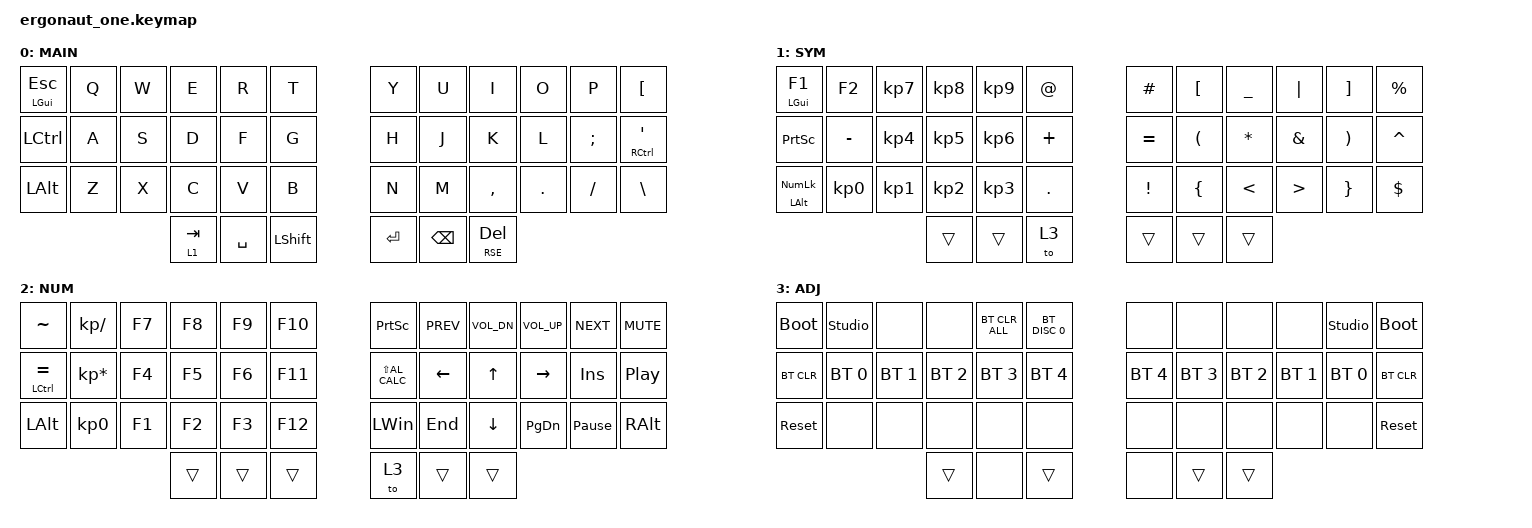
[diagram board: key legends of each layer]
#include <behaviors.dtsi>
#include <dt-bindings/zmk/bt.h>
#include <dt-bindings/zmk/keys.h>

#define DEF 0
#define LWR 1
#define RSE 2
#define ADJ 3

&lt { quick-tap-ms = <200>; };

&mt { quick-tap-ms = <200>; };

/ {
    conditional_layers {
        compatible = "zmk,conditional-layers";

        tri-layer {
            if-layers = <LWR RSE>;
            then-layer = <ADJ>;
        };
    };

    keymap {
        compatible = "zmk,keymap";

        default_layer {
            display-name = "MAIN";
            bindings = <
&mt LGUI ESCAPE   &kp Q  &kp W  &kp E      &kp R      &kp T           &kp Y      &kp U          &kp I        &kp O    &kp P     &kp LBKT
&kp LEFT_CONTROL  &kp A  &kp S  &kp D      &kp F      &kp G           &kp H      &kp J          &kp K        &kp L    &kp SEMI  &mt RCTRL SQT
&kp LALT          &kp Z  &kp X  &kp C      &kp V      &kp B           &kp N      &kp M          &kp COMMA    &kp DOT  &kp FSLH  &kp BSLH
                                &lt 1 TAB  &kp SPACE  &kp LEFT_SHIFT  &kp ENTER  &kp BACKSPACE  &lt RSE DEL
            >;
        };

        lower_layer {
            display-name = "SYM";
            bindings = <
&mt LGUI F1          &kp F2           &kp KP_NUMBER_7  &kp KP_NUMBER_8  &kp KP_NUMBER_9  &kp AT_SIGN  &kp HASH         &kp LEFT_BRACKET      &kp UNDERSCORE  &kp PIPE          &kp RIGHT_BRACKET  &kp PERCENT
&kp PSCRN            &kp MINUS        &kp KP_NUMBER_4  &kp KP_NUMBER_5  &kp KP_NUMBER_6  &kp PLUS     &kp EQUAL        &kp LEFT_PARENTHESIS  &kp STAR        &kp AMPERSAND     &kp RPAR           &kp CARET
&mt LALT KP_NUMLOCK  &kp KP_NUMBER_0  &kp KP_NUMBER_1  &kp KP_NUMBER_2  &kp KP_NUMBER_3  &kp DOT      &kp EXCLAMATION  &kp LEFT_BRACE        &kp LESS_THAN   &kp GREATER_THAN  &kp RIGHT_BRACE    &kp DOLLAR
                                                       &trans           &trans           &to 3        &trans           &trans                &trans
            >;
        };

        raise_layer {
            display-name = "NUM";
            bindings = <
&kp TILDE        &kp KP_SLASH     &kp F7  &kp F8  &kp F9  &kp F10  &kp PRINTSCREEN    &kp C_PREV  &kp C_VOL_DN  &kp C_VOLUME_UP  &kp C_NEXT       &kp C_MUTE
&mt LCTRL EQUAL  &kp KP_MULTIPLY  &kp F4  &kp F5  &kp F6  &kp F11  &kp LS(C_AL_CALC)  &kp LEFT    &kp UP        &kp RIGHT        &kp INS          &kp C_PLAY_PAUSE
&kp LALT         &kp KP_N0        &kp F1  &kp F2  &kp F3  &kp F12  &kp LWIN           &kp END     &kp DOWN      &kp PG_DN        &kp PAUSE_BREAK  &kp RALT
                                          &trans  &trans  &trans   &to 3              &trans      &trans
            >;
        };

        adjust_layer {
            display-name = "ADJ";
            bindings = <
&bootloader  &studio_unlock  &none         &none         &bt BT_CLR_ALL  &bt BT_DISC 0  &none         &none         &none         &none         &studio_unlock  &bootloader
&bt BT_CLR   &bt BT_SEL 0    &bt BT_SEL 1  &bt BT_SEL 2  &bt BT_SEL 3    &bt BT_SEL 4   &bt BT_SEL 4  &bt BT_SEL 3  &bt BT_SEL 2  &bt BT_SEL 1  &bt BT_SEL 0    &bt BT_CLR
&sys_reset   &none           &none         &none         &none           &none          &none         &none         &none         &none         &none           &sys_reset
                                           &trans        &none           &trans         &none         &trans        &trans
            >;
        };
    };
};
